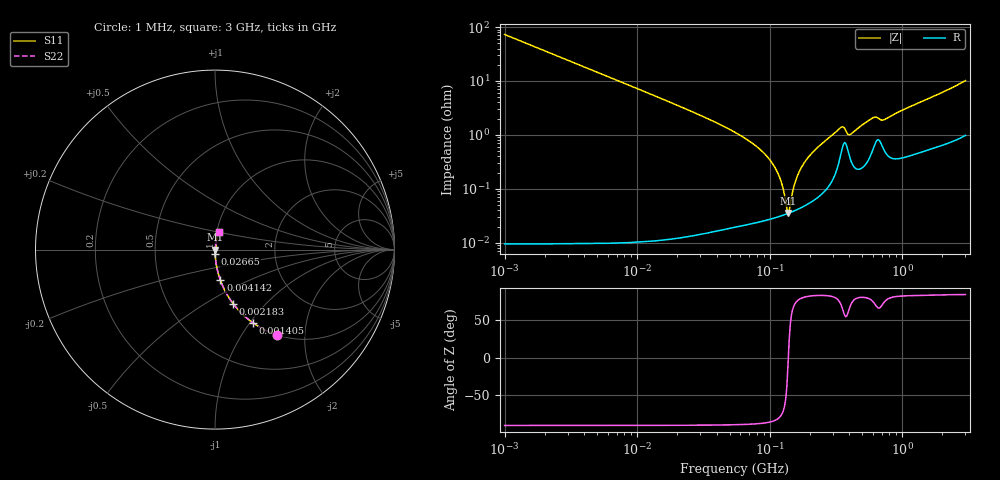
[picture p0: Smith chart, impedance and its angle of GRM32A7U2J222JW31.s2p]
!Murata Part Number: GRM32A7U2J222JW31
!These Parameters are Measured in Series Mode Connection
!Data Generated on Mar 30, 2021
!  o--ll--o
!Port1  Port2
!  o------o
!Operation Temp=25[degC], DC Bias Voltage=0[V]
!Freq. Start=1000[kHz] Stop=3[GHz] 401[Steps]
# Hz S RI R 50
!Freq.(Hz) S11(Real) S11(Imag) S21(Real) S21(Imag) S12(Real) S12(Imag) S22(Real) S22(Imag)
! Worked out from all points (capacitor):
!   401 points, 1 MHz to 3 GHz, reference 50 ohm
!   read as one part in series: C = 2.18 nF near 1.041 MHz
!   lowest |Z| = 35.6 mohm at 137.5 MHz (marker M1)
!   series resonance near 138.3 MHz, so ESL is about 610 pH
!   S11 on the Smith chart (normalised r, x): 1 MHz: 1.00, -1.46; 1.405 MHz: 1.00, -1.04; 2.183 MHz: 1.00, -0.67; 4.142 MHz: 1.00, -0.35; 26.65 MHz: 1.00, -0.05; 3 GHz: 1.02, +0.20
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1000000  0.3473 -0.476  0.6527 0.476  0.6527 0.476  0.3473 -0.476
1405328  0.2122 -0.4088  0.7878 0.4088  0.7878 0.4088  0.2122 -0.4088
2182827  0.1005 -0.3005  0.8995 0.3005  0.8995 0.3005  0.1005 -0.3005
3823119  0.0352 -0.1839  0.9648 0.1839  0.9648 0.1839  0.0352 -0.1839
4141799  0.0301 -0.1706  0.9699 0.1706  0.9699 0.1706  0.0301 -0.1706
1.461624e7  0.00254 -0.0492  0.9975 0.0492  0.9975 0.0492  0.00254 -0.0492
2.664524e7  0.000828 -0.0263  0.9992 0.0263  0.9992 0.0263  0.000828 -0.0263
5.477226e7  0.000319 -0.0112  0.9997 0.0112  0.9997 0.0112  0.000319 -0.0112
8.011685e7  0.000274 -0.00604  0.9997 0.00604  0.9997 0.00604  0.000274 -0.00604
1.039275e8  0.000289 -0.00306  0.9997 0.00306  0.9997 0.00306  0.000289 -0.00306
1.195584e8  0.000313 -0.00155  0.9997 0.00155  0.9997 0.00155  0.000313 -0.00155
1.375402e8  0.000351 -5.96e-05  0.9996 5.96e-05  0.9996 5.96e-05  0.000351 -5.96e-05
1.431579e8  0.000365 0.000365  0.9996 -0.000365  0.9996 -0.000365  0.000365 0.000365
1.550909e8  0.000397 0.00122  0.9996 -0.00122  0.9996 -0.00122  0.000397 0.00122
1.646891e8  0.000427 0.00187  0.9996 -0.00187  0.9996 -0.00187  0.000427 0.00187
2.094008e8  0.000606 0.00462  0.9994 -0.00462  0.9994 -0.00462  0.000606 0.00462
3.453811e8  0.00464 0.013  0.9954 -0.013  0.9954 -0.013  0.00464 0.013
4.0536e8  0.00372 0.00946  0.9963 -0.00946  0.9963 -0.00946  0.00372 0.00946
6.049187e8  0.00593 0.0199  0.9941 -0.0199  0.9941 -0.0199  0.00593 0.0199
7.099691e8  0.00635 0.0176  0.9936 -0.0176  0.9936 -0.0176  0.00635 0.0176
8.005644e8  0.00433 0.0211  0.9957 -0.0211  0.9957 -0.0211  0.00433 0.0211
3e9  0.0196 0.0983  0.9804 -0.0983  0.9804 -0.0983  0.0196 0.0983
